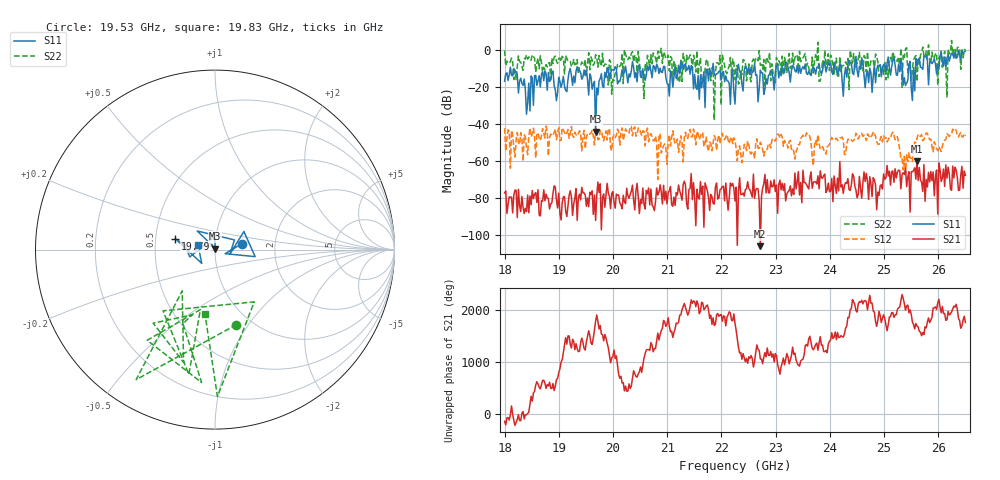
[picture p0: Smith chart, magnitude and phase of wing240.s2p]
!Keysight Technologies,N5242B,MY47200105,A.14.00.23
!Date: Friday, May 10, 2024 11:14:26
!Correction: S11(C  2-Port  )
!S21(C  2-Port  )
!S12(C  2-Port  )
!S22(C  2-Port  )
!S2P File: Measurement: :
# Hz S  RI  R 50
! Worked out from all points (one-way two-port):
!   401 points, 18 GHz to 26.5 GHz, reference 50 ohm
!   highest |S21| = -60.00 dB at 25.61 GHz (marker M1); lowest = -105.8 dB at 22.72 GHz (marker M2)
!   lowest |S11| = -44.1 dB at 19.68 GHz (marker M3), VSWR 1.01, Z = 50.2 + j0.601 ohm
!   |S11| at or under -10 dB: 18.17 GHz to 19.21 GHz (1.04 GHz wide, 5.56 % of centre); 19.35 GHz to 19.9 GHz (547.1 MHz wide, 2.79 % of centre); 21.86 GHz to 22.3 GHz (442 MHz wide, 2 % of centre) (the widest 3 of 63)
!   |S22| runs from -37.8 to 5.2 dB; largest |S21 - S12| = 0.0087
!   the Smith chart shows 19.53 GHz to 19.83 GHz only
!   S11 on the Smith chart (normalised r, x): 19.53 GHz: 1.35, +0.09; 19.79 GHz: 0.63, +0.08; 19.83 GHz: 0.83, +0.04
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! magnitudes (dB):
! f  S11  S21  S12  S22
! 18 GHz  -16.8  -77.1  -42.2  -0.2
! 18.43 GHz  -28.6  -78.3  -56.5  -4.9
! 18.72 GHz  -16.5  -75.4  -45.1  -9.3
! 19.42 GHz  -15.8  -74.1  -54.4  -6.4
! 19.53 GHz  -16.3  -79.9  -44.9  -7.2
! 19.68 GHz  -44.1  -92.0  -42.4  -2.6
! 19.79 GHz  -12.8  -97.0  -43.6  -8.8
! 19.83 GHz  -20.2  -77.7  -49.0  -8.8
! 20.02 GHz  -10.9  -82.5  -45.9  -16.4
! 20.38 GHz  -9.2  -81.0  -42.5  -6.5
! 20.55 GHz  -10.1  -74.5  -43.5  -13.7
! 20.85 GHz  -12.7  -76.6  -46.2  -4.5
! 21.23 GHz  -12.7  -76.0  -50.6  -17.6
! 21.4 GHz  -8.3  -75.3  -44.3  -4.3
! 21.85 GHz  -7.2  -82.8  -50.1  -9.0
! 22.25 GHz  -29.2  -81.5  -48.8  -16.1
! 22.72 GHz  -10.9  -105.8  -49.7  -8.2
! 23.67 GHz  -10.7  -74.6  -57.2  -3.8
! 25.1 GHz  -9.5  -65.4  -47.0  -6.1
! 25.39 GHz  -19.1  -63.7  -66.9  0.5
! 25.61 GHz  -8.5  -60.0  -47.6  -17.0
! 26.5 GHz  -0.6  -67.6  -46.3  0.5
